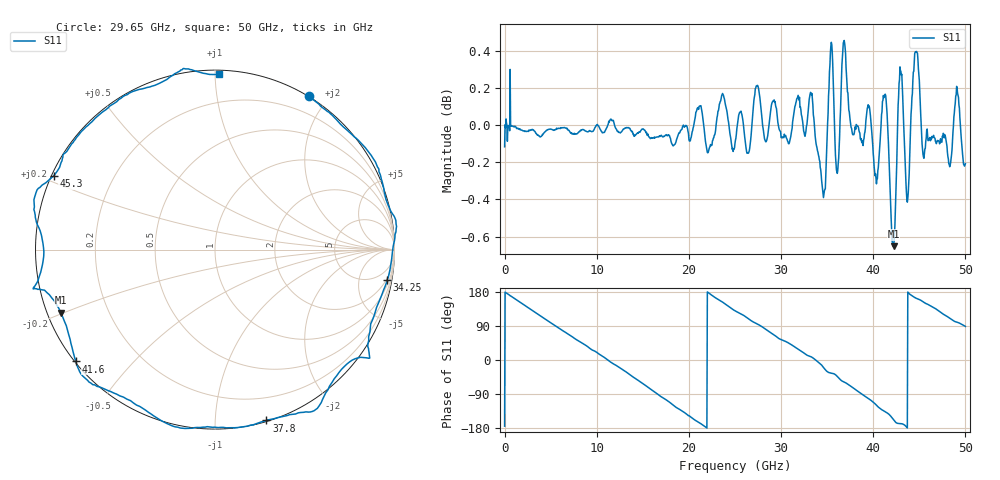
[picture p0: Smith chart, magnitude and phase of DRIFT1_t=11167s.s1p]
!Created with skrf (http://scikit-rf.org).
# Hz S RI R 50.0
!freq ReS11 ImS11
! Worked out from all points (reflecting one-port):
!   1001 points, 300 kHz to 50 GHz, reference 50 ohm
!   lowest |S11| = -0.7 dB at 42.2 GHz (marker M1), VSWR 26.69, Z = 1.95 - j9.84 ohm
!   phase of S11 starts at -175 deg and turns -817 deg over the sweep
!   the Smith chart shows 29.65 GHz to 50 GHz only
!   S11 on the Smith chart (normalised r, x): 29.65 GHz: -0.00, +1.79; 34.25 GHz: 2, -11; 37.8 GHz: 0.01, -1.35; 41.6 GHz: 0.00, -0.35; 45.3 GHz: 0.01, +0.22; 50 GHz: 0.02, +1.02
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300000  -0.9824 -0.0919
1.500291e9  -0.9057 0.4186
3.30028e9  -0.5804 0.8094
6.250262e9  0.2028 0.9777
9.500243e9  0.8924 0.4425
1.250022e10  0.9319 -0.35
1.580021e10  0.2367 -0.9631
1.73502e10  -0.2121 -0.9702
1.875019e10  -0.5986 -0.7921
2.150017e10  -0.9937 -0.1491
2.350016e10  -0.9223 0.4277
2.500015e10  -0.6333 0.7594
2.740014e10  -0.0947 1.021
2.965012e10  0.5239 0.8538
3.125011e10  0.787 0.6201
3.31001e10  1.002 0.1762
3.425009e10  0.9594 -0.1681
3.520009e10  0.8562 -0.5605
3.750008e10  0.3728 -0.9309
3.780007e10  0.2865 -0.9519
3.955006e10  -0.2221 -0.9874
4.160005e10  -0.7755 -0.6234
4.220005e10  -0.8584 -0.3519
4.290004e10  -1.013 -0.2185
4.375004e10  -0.9555 0.0116
4.530003e10  -0.8991 0.4103
4.775001e10  -0.4783 0.8715
5e10  0.024 0.9761
